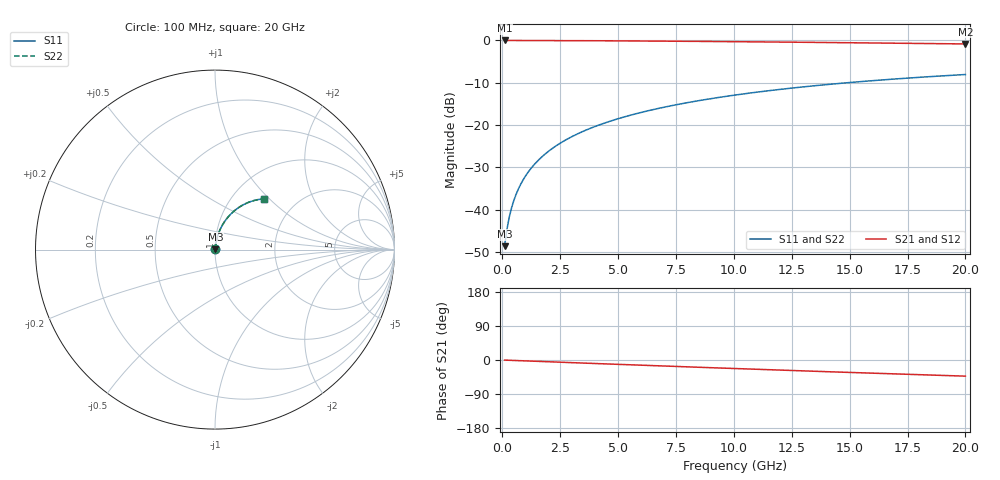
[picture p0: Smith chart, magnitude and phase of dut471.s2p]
! Touchstone file exported from HFSS 2026.1.0
!  File:  C:/ffzhzh/LocalFiles/Ansys_Project_Files/temp_train_BSMRDL_471_1783013655_53980.aedt
!  Generated:  01:35:41 AM Jul  3, 2026
!  Design:  BSMRDL
!  Project:  temp_train_BSMRDL_471_1783013655_53980
! Variables:
!  h_bsmrdl = 5.25um
!  h_ox = 20um
!  h_rdl = 5um
!  h_sub = 80um
!  h_tmrdl = 5um
!  h_tsv = 80um
!  h_via = 3um
!  l_bsmrdl = 630.93um
!  l_sub = 1030.93um
!  l_tmrdl = 200um
!  m_sub = 200um
!  pitch = 43.76um
!  r_tsv = 6um
!  s_tmrdl = 10um
!  w_bsmrdl = 17.11um
!  w_sub = 500um
!  w_tmrdl = 12um
!  x_tsv_center1 = 206um
!  x_tsv_center2 = 854.04um
!  x_tsv_center3 = 1066.04um
!  x_tsv_center4 = 1714.08um
!  x_tsv_center5 = 1926.08um
!  x_tsv_center6 = 2574.12um
# GHz S MA R 50.000000
! Terminal data exported
! Port[1] = BSM_RDL1_1_T1
! Port[2] = BSM_RDL1_1_T2
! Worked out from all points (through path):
!   200 points, 100 MHz to 20 GHz, reference 50 ohm
!   highest |S21| = -0.02 dB at 100 MHz (marker M1); lowest = -0.8 dB at 20 GHz (marker M2)
!   group delay of S21, straight-line fit = 5.91 ps
!   lowest |S11| = -48.7 dB at 100 MHz (marker M3), VSWR 1.01, Z = 50.3 + j0.262 ohm
!   |S11| at or under -10 dB: start of sweep to 14.93 GHz
!   |S22| runs from -48.7 to -8.1 dB; largest |S21 - S12| = 3.5e-15
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0.1  0.003692 44.9  0.9974 -0.2  0.9974 -0.2  0.003692 44.9
! Gamma 0 0 0 0
! Port Impedance 50 0 50 0
0.2  0.005827 61.6  0.9973 -0.5  0.9973 -0.5  0.005827 61.6
0.3  0.008126 68.9  0.9971 -0.7  0.9971 -0.7  0.008126 68.9
0.4  0.01047 72.9  0.997 -1.0  0.997 -1.0  0.01047 72.9
0.5  0.01284 75.4  0.9969 -1.2  0.9969 -1.2  0.01284 75.4
0.6  0.01523 77.1  0.9969 -1.4  0.9969 -1.4  0.01523 77.1
0.8  0.02003 79.1  0.9967 -1.9  0.9967 -1.9  0.02003 79.1
1.1  0.02728 80.5  0.9964 -2.6  0.9964 -2.6  0.02728 80.5
1.5  0.03694 81.0  0.9958 -3.5  0.9958 -3.5  0.03694 81.0
1.8  0.04416 81.0  0.9953 -4.2  0.9953 -4.2  0.04416 81.0
2.1  0.05135 80.7  0.9948 -4.9  0.9948 -4.9  0.05135 80.7
2.7  0.0656 79.9  0.9934 -6.3  0.9934 -6.3  0.0656 79.9
3.5  0.08432 78.4  0.9914 -8.1  0.9914 -8.1  0.08432 78.4
4.2  0.1004 77.0  0.9893 -9.7  0.9893 -9.7  0.1004 77.0
5  0.1185 75.4  0.9866 -11.5  0.9866 -11.5  0.1185 75.4
5.9  0.1385 73.6  0.9834 -13.5  0.9834 -13.5  0.1385 73.6
6.8  0.1581 71.8  0.9799 -15.5  0.9799 -15.5  0.1581 71.8
8.3  0.19 68.7  0.9734 -18.8  0.9734 -18.8  0.19 68.7
10.1  0.2267 65.0  0.9648 -22.7  0.9648 -22.7  0.2267 65.0
13.4  0.2893 58.4  0.947 -29.6  0.947 -29.6  0.2893 58.4
16.7  0.3454 52.0  0.9275 -36.2  0.9275 -36.2  0.3454 52.0
20  0.3947 45.8  0.9074 -42.6  0.9074 -42.6  0.3947 45.8
